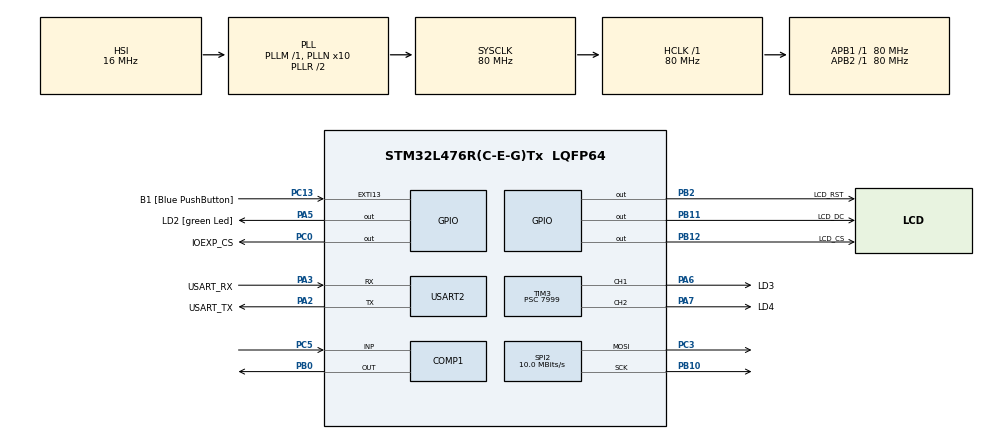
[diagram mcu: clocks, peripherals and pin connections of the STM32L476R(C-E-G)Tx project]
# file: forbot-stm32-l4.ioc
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COMP1.OutputPol=COMP_OUTPUTPOL_INVERTED
Mcu.Family=STM32L4
Mcu.Name=STM32L476R(C-E-G)Tx
Mcu.Package=LQFP64
NVIC.PriorityGroup=NVIC_PRIORITYGROUP_4
NVIC.TIM3_IRQn=true\:3\:0\:true\:false\:true\:true\:true\:true
PA13\ (JTMS-SWDIO).GPIO_Label=TMS
PA13\ (JTMS-SWDIO).Mode=Serial_Wire
PA13\ (JTMS-SWDIO).Signal=SYS_JTMS-SWDIO
PA14\ (JTCK-SWCLK).GPIO_Label=TCK
PA14\ (JTCK-SWCLK).Mode=Serial_Wire
PA14\ (JTCK-SWCLK).Signal=SYS_JTCK-SWCLK
PA2.GPIO_Label=USART_TX
PA2.GPIO_Mode=GPIO_MODE_AF_PP
PA2.GPIO_PuPd=GPIO_NOPULL
PA2.GPIO_Speed=GPIO_SPEED_FREQ_VERY_HIGH
PA2.Mode=Asynchronous
PA2.Signal=USART2_TX
PA3.GPIO_Label=USART_RX
PA3.GPIO_Mode=GPIO_MODE_AF_PP
PA3.GPIO_PuPd=GPIO_NOPULL
PA3.GPIO_Speed=GPIO_SPEED_FREQ_VERY_HIGH
PA3.Mode=Asynchronous
PA3.Signal=USART2_RX
PA5.GPIO_Label=LD2 [green Led]
PA5.GPIO_ModeDefaultOutputPP=GPIO_MODE_OUTPUT_PP
PA5.GPIO_PuPd=GPIO_NOPULL
PA5.GPIO_Speed=GPIO_SPEED_FREQ_LOW
PA5.Signal=GPIO_Output
PA6.GPIO_Label=LD3
PA6.Signal=S_TIM3_CH1
PA7.GPIO_Label=LD4
PA7.Signal=S_TIM3_CH2
PB0.Mode=ExternalOutput
PB0.Signal=COMP1_OUT
PB10.Mode=TX_Only_Simplex_Unidirect_Master
PB10.Signal=SPI2_SCK
PB11.GPIO_Label=LCD_DC
PB11.Signal=GPIO_Output
PB12.GPIO_Label=LCD_CS
PB12.PinState=GPIO_PIN_SET
PB12.Signal=GPIO_Output
PB2.GPIO_Label=LCD_RST
PB2.Signal=GPIO_Output
PB3\ (JTDO-TRACESWO).GPIO_Label=SWO
PB3\ (JTDO-TRACESWO).Signal=SYS_JTDO-SWO
PC0.GPIO_Label=IOEXP_CS
PC0.PinState=GPIO_PIN_SET
PC0.Signal=GPIO_Output
PC13.GPIO_Label=B1 [Blue PushButton]
PC13.GPIO_ModeDefaultEXTI=GPIO_MODE_IT_FALLING
PC13.GPIO_PuPd=GPIO_NOPULL
PC13.Signal=GPXTI13
PC14-OSC32_IN\ (PC14).Mode=LSE-External-Oscillator
PC14-OSC32_IN\ (PC14).Signal=RCC_OSC32_IN
PC15-OSC32_OUT\ (PC15).Mode=LSE-External-Oscillator
PC15-OSC32_OUT\ (PC15).Signal=RCC_OSC32_OUT
PC3.Mode=TX_Only_Simplex_Unidirect_Master
PC3.Signal=SPI2_MOSI
PC5.Mode=INP
PC5.Signal=COMP1_INP
PH0-OSC_IN\ (PH0).Signal=RCC_OSC_IN
PH1-OSC_OUT\ (PH1).Signal=RCC_OSC_OUT
ProjectManager.HeapSize=0x200
ProjectManager.StackSize=0x400
ProjectManager.TargetToolchain=Makefile
RCC.ADCFreq_Value=32000000
RCC.AHBFreq_Value=80000000
RCC.APB1Freq_Value=80000000
RCC.APB1TimFreq_Value=80000000
RCC.APB2Freq_Value=80000000
RCC.APB2TimFreq_Value=80000000
RCC.CortexFreq_Value=80000000
RCC.HCLKFreq_Value=80000000
RCC.HSE_VALUE=8000000
RCC.HSI_VALUE=16000000
RCC.MSI_VALUE=4000000
RCC.PLLN=10
RCC.PLLSAI1R=RCC_PLLR_DIV4
RCC.PLLSourceVirtual=RCC_PLLSOURCE_HSI
RCC.PREFETCH_ENABLE=1
RCC.SYSCLKFreq_VALUE=80000000
RCC.SYSCLKSource=RCC_SYSCLKSOURCE_PLLCLK
RCC.USBFreq_Value=64000000
RCC.VCOOutputFreq_Value=160000000
SH.S_TIM3_CH1.0=TIM3_CH1,PWM Generation1 CH1
SH.S_TIM3_CH2.0=TIM3_CH2,PWM Generation2 CH2
SPI2.BaudRatePrescaler=SPI_BAUDRATEPRESCALER_8
SPI2.CalculateBaudRate=10.0 MBits/s
SPI2.DataSize=SPI_DATASIZE_8BIT
SPI2.Direction=SPI_DIRECTION_2LINES
SPI2.Mode=SPI_MODE_MASTER
SPI2.NSSPMode=SPI_NSS_PULSE_DISABLE
SPI2.VirtualType=VM_MASTER
TIM3.Channel-PWM\ Generation1\ CH1=TIM_CHANNEL_1
TIM3.Channel-PWM\ Generation2\ CH2=TIM_CHANNEL_2
TIM3.Channel-PWM\ Generation3\ CH3=TIM_CHANNEL_3
TIM3.Period=9999
TIM3.Prescaler=7999
TIM3.Pulse-PWM\ Generation1\ CH1=2500
TIM3.Pulse-PWM\ Generation2\ CH2=5000
TIM3.Pulse-PWM\ Generation3\ CH3=7500
USART2.VirtualMode-Asynchronous=VM_ASYNC
VP_COMP1_VS_DACOUT1.Mode=INM_DACOUT1
VP_DAC1_VS_DACI1.Mode=DAC_OUT1_Int
VP_RTC_VS_RTC_Activate.Mode=RTC_Enabled
VP_TIM3_VS_ClockSourceINT.Mode=Internal
board=NUCLEO-L476RG

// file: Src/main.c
/* USER CODE BEGIN Header */
/**
 ******************************************************************************
 * @file           : main.c
 * @brief          : Main program body
 ******************************************************************************
 * @attention
 *
 * Copyright (c) 2024 STMicroelectronics.
 * All rights reserved.
 *
 * This software is licensed under terms that can be found in the LICENSE file
 * in the root directory of this software component.
 * If no LICENSE file comes with this software, it is provided AS-IS.
 *
 ******************************************************************************
 */
/* USER CODE END Header */
#include "main.h"
#include "comp.h"
#include "dac.h"
#include "rtc.h"
#include "spi.h"
#include "tim.h"
#include "usart.h"
#include "gpio.h"

/* USER CODE BEGIN Includes */
#include "helpers.h"
#include <stdint.h>
#include <stdio.h>
#include <string.h>
#include <lcd.h>
/* USER CODE END Includes */

/* USER CODE BEGIN PD */
#ifndef DEBUG
#define DEBUG 0
#endif

#define ON 1
#define OFF 2

#define MCP_IODIR 0x00
#define MCP_IPOL 0x01
#define MCP_GPINTEN 0x02
#define MCP_DEFVAL 0x03
#define MCP_INTCON 0x04
#define MCP_IOCON 0x05
#define MCP_GPPU 0x06
#define MCP_INTF 0x07
#define MCP_INTCAP 0x08
#define MCP_GPIO 0x09
#define MCP_OLAT 0x0A
/* USER CODE END PD */

/* USER CODE BEGIN PM */
#define GET_DATETIME()                                                         \
  do {                                                                         \
    HAL_RTC_GetTime(&hrtc, &time, RTC_FORMAT_BIN);                             \
    HAL_RTC_GetDate(&hrtc, &date, RTC_FORMAT_BIN);                             \
  } while (0)
#define PRINT_TIME() printf("%02d:%02d:%02d\n", time.Hours, time.Minutes, time.Seconds)
#define PRINT_DATE() printf("%04d-%02d-%02d\n", date.Year, time.Month, time.Date)

#define GET_VOLTAGE(x) (3300 * (x) / 4096)
/* USER CODE END PM */

/* USER CODE BEGIN PV */
RTC_TimeTypeDef time;
RTC_DateTypeDef date;
/* USER CODE END PV */

void SystemClock_Config(void);

/* USER CODE BEGIN 0 */
void HAL_GPIO_EXTI_Callback(uint16_t GPIO_Pin) {}
void HAL_TIM_PeriodElapsedCallback(TIM_HandleTypeDef *htim) {}
/* USER CODE END 0 */

int main(void)
{

  /* MCU Configuration--------------------------------------------------------*/

  /* Reset of all peripherals, Initializes the Flash interface and the Systick. */
  HAL_Init();

  /* Configure the system clock */
  SystemClock_Config();

  /* Initialize all configured peripherals */
  MX_GPIO_Init();
  MX_TIM3_Init();
  MX_USART2_UART_Init();
  MX_RTC_Init();
  MX_COMP1_Init();
  MX_DAC1_Init();
  MX_SPI2_Init();
  /* USER CODE BEGIN 2 */
  HAL_TIM_Base_Start_IT(&htim3);

  GET_DATETIME();
  printf("RESET!\n");
  PRINT_TIME();

  // HAL_SPI_Transmit(&hspi2,
  /* USER CODE END 2 */

  /* Infinite loop */
  /* USER CODE BEGIN WHILE */
  lcd_init();
  lcd_fill_box(0, 0, 160, 16, RED);
  lcd_fill_box(0, 16, 160, 16, GREEN);
  lcd_fill_box(0, 32, 160, 16, BLUE);
  lcd_fill_box(0, 48, 160, 16, YELLOW);
  lcd_fill_box(0, 64, 160, 16, MAGENTA);
  lcd_fill_box(0, 80, 160, 16, CYAN);
  lcd_fill_box(0, 96, 160, 16, WHITE);
  lcd_fill_box(0, 112, 160, 16, BLACK);
  while (ON) {
    /* USER CODE END WHILE */

  }
}

void SystemClock_Config(void)
{
  RCC_OscInitTypeDef RCC_OscInitStruct = {0};
  RCC_ClkInitTypeDef RCC_ClkInitStruct = {0};

  /** Configure the main internal regulator output voltage
  */
  if (HAL_PWREx_ControlVoltageScaling(PWR_REGULATOR_VOLTAGE_SCALE1) != HAL_OK)
  {
    Error_Handler();
  }

  /** Initializes the RCC Oscillators according to the specified parameters
  * in the RCC_OscInitTypeDef structure.
  */
  RCC_OscInitStruct.OscillatorType = RCC_OSCILLATORTYPE_HSI|RCC_OSCILLATORTYPE_LSI;
  RCC_OscInitStruct.HSIState = RCC_HSI_ON;
  RCC_OscInitStruct.HSICalibrationValue = RCC_HSICALIBRATION_DEFAULT;
  RCC_OscInitStruct.LSIState = RCC_LSI_ON;
  RCC_OscInitStruct.PLL.PLLState = RCC_PLL_ON;
  RCC_OscInitStruct.PLL.PLLSource = RCC_PLLSOURCE_HSI;
  RCC_OscInitStruct.PLL.PLLM = 1;
  RCC_OscInitStruct.PLL.PLLN = 10;
  RCC_OscInitStruct.PLL.PLLP = RCC_PLLP_DIV7;
  RCC_OscInitStruct.PLL.PLLQ = RCC_PLLQ_DIV2;
  RCC_OscInitStruct.PLL.PLLR = RCC_PLLR_DIV2;
  if (HAL_RCC_OscConfig(&RCC_OscInitStruct) != HAL_OK)
  {
    Error_Handler();
  }

  /** Initializes the CPU, AHB and APB buses clocks
  */
  RCC_ClkInitStruct.ClockType = RCC_CLOCKTYPE_HCLK|RCC_CLOCKTYPE_SYSCLK
                              |RCC_CLOCKTYPE_PCLK1|RCC_CLOCKTYPE_PCLK2;
  RCC_ClkInitStruct.SYSCLKSource = RCC_SYSCLKSOURCE_PLLCLK;
  RCC_ClkInitStruct.AHBCLKDivider = RCC_SYSCLK_DIV1;
  RCC_ClkInitStruct.APB1CLKDivider = RCC_HCLK_DIV1;
  RCC_ClkInitStruct.APB2CLKDivider = RCC_HCLK_DIV1;

  if (HAL_RCC_ClockConfig(&RCC_ClkInitStruct, FLASH_LATENCY_4) != HAL_OK)
  {
    Error_Handler();
  }
}

void Error_Handler(void)
{
  __disable_irq();
  while (1) {
  }
}

#ifdef  USE_FULL_ASSERT
/**
  * @brief  Reports the name of the source file and the source line number
  *         where the assert_param error has occurred.
  * @param  file: pointer to the source file name
  * @param  line: assert_param error line source number
  * @retval None
  */
void assert_failed(uint8_t *file, uint32_t line)
{
  /* USER CODE BEGIN 6 */
  /* User can add his own implementation to report the file name and line
     number, ex. printf("Wrong parameters value: file %s on line %d\r\n", file,
     line) */
  /* USER CODE END 6 */
}
#endif /* USE_FULL_ASSERT */
